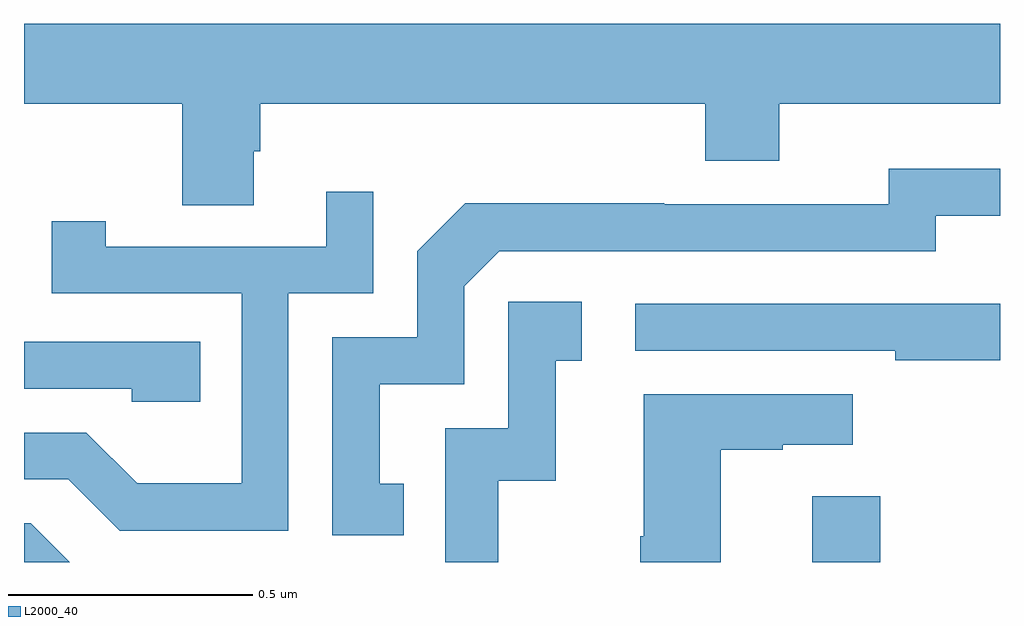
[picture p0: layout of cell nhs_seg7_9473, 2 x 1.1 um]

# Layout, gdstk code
import gdstk
lib = gdstk.Library(unit=1e-6, precision=1e-09)
def R(c, l, rs):  # rectangles x0, y0, x1, y1
    for r in rs: c.add(gdstk.rectangle(r[:2], r[2:], *l))
def P(c, l, *ps):  # polygons
    for p in ps: c.add(gdstk.Polygon(p, *l))
L2000_40 = (2000, 40)

nhs_seg7_9473 = lib.new_cell('nhs_seg7_9473')
R(nhs_seg7_9473, L2000_40, [(239.615,1009,239.755,1009.135)])
P(nhs_seg7_9473, L2000_40, [(238,1009.94),(238.324,1009.94),(238.324,1009.732),(238.471,1009.732),(238.471,1009.842),(238.484,1009.842),(238.484,1009.94),(239.396,1009.94),(239.396,1009.823),(239.548,1009.823),(239.548,1009.94),(240,1009.94),(240,1010.104),(238,1010.104)],
  [(238.778,1009.161),(238.729,1009.161),(238.729,1009.365),(238.902,1009.365),(238.902,1009.566),(238.974,1009.638),(239.868,1009.638),(239.868,1009.71),(240,1009.71),(240,1009.807),(239.772,1009.807),(239.772,1009.734),(239.312,1009.734),(239.312,1009.736),(238.904,1009.736),(238.806,1009.638),(238.806,1009.461),(238.632,1009.461),(238.632,1009.056),(238.778,1009.056)],
  [(238.542,1009.551),(238.716,1009.551),(238.716,1009.759),(238.619,1009.759),(238.619,1009.647),(238.168,1009.647),(238.168,1009.699),(238.057,1009.699),(238.057,1009.551),(238.446,1009.551),(238.446,1009.162),(238.232,1009.162),(238.128,1009.266),(238,1009.266),(238,1009.17),(238.091,1009.17),(238.196,1009.065),(238.542,1009.065)],
  [(238.972,1009.167),(239.09,1009.167),(239.09,1009.413),(239.143,1009.413),(239.143,1009.534),(238.992,1009.534),(238.992,1009.275),(238.863,1009.275),(238.863,1009),(238.972,1009)],
  [(240,1009.53),(239.253,1009.53),(239.253,1009.434),(239.785,1009.434),(239.785,1009.414),(240,1009.414)],
  [(238.361,1009.452),(238,1009.452),(238,1009.356),(238.221,1009.356),(238.221,1009.329),(238.361,1009.329)],
  [(239.428,1009.231),(239.555,1009.231),(239.555,1009.241),(239.698,1009.241),(239.698,1009.345),(239.27,1009.345),(239.27,1009.054),(239.263,1009.054),(239.263,1009),(239.428,1009)],
  [(238.014,1009.08),(238,1009.08),(238,1009),(238.094,1009)])

lib.write_gds('nhs_seg7_9473.gds')
